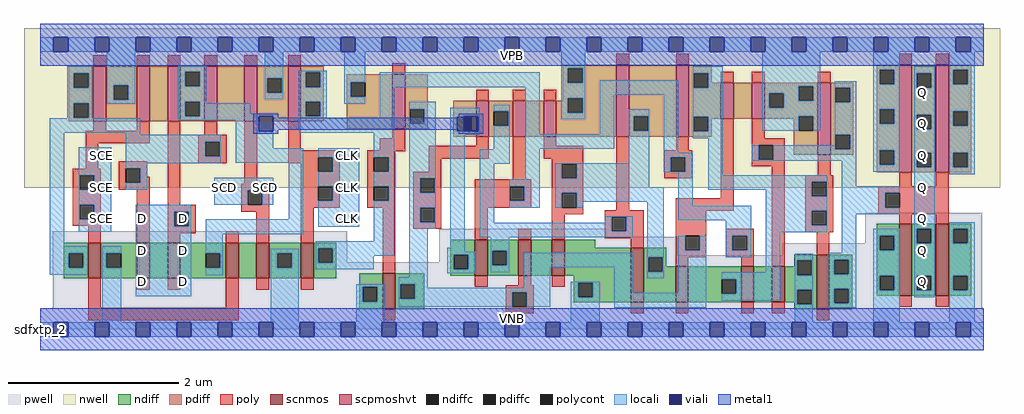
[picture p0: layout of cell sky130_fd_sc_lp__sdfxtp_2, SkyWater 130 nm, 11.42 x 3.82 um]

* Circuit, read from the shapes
.subckt sky130_fd_sc_lp__sdfxtp_2 CLK D SCD SCE VGND VNB VPB VPWR Q
XM1 VGND SCE n1 VNB sky130_fd_pr__nfet_01v8 w=0.42 l=0.15
XM2 n2 n1 VGND VNB sky130_fd_pr__nfet_01v8 w=0.42 l=0.15
XM3 n3 D n2 VNB sky130_fd_pr__nfet_01v8 w=0.42 l=0.15
XM4 n4 SCE n3 VNB sky130_fd_pr__nfet_01v8 w=0.42 l=0.15
XM5 VGND SCD n4 VNB sky130_fd_pr__nfet_01v8 w=0.42 l=0.15
XM6 n5 CLK VGND VNB sky130_fd_pr__nfet_01v8 w=0.42 l=0.15
XM7 n6 n5 VGND VNB sky130_fd_pr__nfet_01v8 w=0.42 l=0.15
XM8 n7 n5 n3 VNB sky130_fd_pr__nfet_01v8 w=0.42 l=0.15
XM9 n8 n6 n7 VNB sky130_fd_pr__nfet_01v8 w=0.42 l=0.15
XM10 VGND n9 n8 VNB sky130_fd_pr__nfet_01v8 w=0.42 l=0.15
XM11 n9 n7 VGND VNB sky130_fd_pr__nfet_01v8 w=0.64 l=0.15
XM12 n10 n6 n9 VNB sky130_fd_pr__nfet_01v8 w=0.42 l=0.15
XM13 n11 n5 n10 VNB sky130_fd_pr__nfet_01v8 w=0.42 l=0.15
XM14 VGND n12 n11 VNB sky130_fd_pr__nfet_01v8 w=0.42 l=0.15
XM15 n12 n10 VGND VNB sky130_fd_pr__nfet_01v8 w=0.64 l=0.15
XM16 Q n12 VGND VNB sky130_fd_pr__nfet_01v8 w=0.84 l=0.15 m=2
XM17 VPWR SCE n1 VPB sky130_fd_pr__pfet_01v8_hvt w=0.64 l=0.15
XM18 n13 SCE VPWR VPB sky130_fd_pr__pfet_01v8_hvt w=0.64 l=0.15
XM19 n3 D n13 VPB sky130_fd_pr__pfet_01v8_hvt w=0.64 l=0.15
XM20 n14 n1 n3 VPB sky130_fd_pr__pfet_01v8_hvt w=0.64 l=0.15
XM21 VPWR SCD n14 VPB sky130_fd_pr__pfet_01v8_hvt w=0.64 l=0.15
XM22 n5 CLK VPWR VPB sky130_fd_pr__pfet_01v8_hvt w=0.64 l=0.15
XM23 n6 n5 VPWR VPB sky130_fd_pr__pfet_01v8_hvt w=0.64 l=0.15
XM24 n7 n6 n3 VPB sky130_fd_pr__pfet_01v8_hvt w=0.42 l=0.15
XM25 n15 n5 n7 VPB sky130_fd_pr__pfet_01v8_hvt w=0.42 l=0.15
XM26 VPWR n9 n15 VPB sky130_fd_pr__pfet_01v8_hvt w=0.42 l=0.15
XM27 n9 n7 VPWR VPB sky130_fd_pr__pfet_01v8_hvt w=0.84 l=0.15
XM28 n10 n5 n9 VPB sky130_fd_pr__pfet_01v8_hvt w=0.84 l=0.15
XM29 n16 n6 n10 VPB sky130_fd_pr__pfet_01v8_hvt w=0.42 l=0.15
XM30 VPWR n12 n16 VPB sky130_fd_pr__pfet_01v8_hvt w=0.42 l=0.15
XM31 n12 n10 VPWR VPB sky130_fd_pr__pfet_01v8_hvt w=0.84 l=0.15
XM32 Q n12 VPWR VPB sky130_fd_pr__pfet_01v8_hvt w=1.26 l=0.15 m=2
.ends

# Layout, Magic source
magic
tech sky130A
magscale 1 2
<< nwell >>
rect -38 331 2246 704
<< pwell >>
rect 29 157 719 229
rect 934 217 1325 235
rect 934 173 1491 217
rect 1931 201 2205 273
rect 1738 173 2205 201
rect 934 157 2205 173
rect 29 49 2205 157
rect 0 0 2208 49
<< scnmos >>
rect 112 119 142 203
rect 226 119 256 203
rect 298 119 328 203
rect 434 119 464 203
rect 506 119 536 203
rect 610 119 640 203
rect 801 47 831 131
rect 1017 125 1047 209
rect 1119 125 1149 209
rect 1197 125 1227 209
rect 1382 63 1412 191
rect 1487 63 1517 147
rect 1640 63 1670 147
rect 1712 63 1742 147
rect 1817 47 1847 175
rect 2010 79 2040 247
rect 2096 79 2126 247
<< scpmoshvt >>
rect 124 487 154 615
rect 226 487 256 615
rect 298 487 328 615
rect 384 487 414 615
rect 478 487 508 615
rect 580 487 610 615
rect 824 469 854 597
rect 1020 451 1050 535
rect 1106 451 1136 535
rect 1178 451 1208 535
rect 1348 451 1378 619
rect 1488 451 1518 619
rect 1593 493 1623 577
rect 1665 493 1695 577
rect 1820 409 1850 577
rect 2010 367 2040 619
rect 2096 367 2126 619
<< ndiff >>
rect 55 178 112 203
rect 55 144 67 178
rect 101 144 112 178
rect 55 119 112 144
rect 142 178 226 203
rect 142 144 155 178
rect 189 144 226 178
rect 142 119 226 144
rect 256 119 298 203
rect 328 178 434 203
rect 328 144 387 178
rect 421 144 434 178
rect 328 119 434 144
rect 464 119 506 203
rect 536 178 610 203
rect 536 144 555 178
rect 589 144 610 178
rect 536 119 610 144
rect 640 190 693 203
rect 640 156 651 190
rect 685 156 693 190
rect 640 119 693 156
rect 960 175 1017 209
rect 960 141 968 175
rect 1002 141 1017 175
rect 747 99 801 131
rect 747 65 755 99
rect 789 65 801 99
rect 747 47 801 65
rect 831 106 899 131
rect 960 125 1017 141
rect 1047 184 1119 209
rect 1047 150 1058 184
rect 1092 150 1119 184
rect 1047 125 1119 150
rect 1149 125 1197 209
rect 1227 191 1299 209
rect 1227 125 1382 191
rect 831 72 842 106
rect 876 72 899 106
rect 831 47 899 72
rect 1249 109 1382 125
rect 1249 75 1259 109
rect 1293 75 1382 109
rect 1249 63 1382 75
rect 1412 169 1465 191
rect 1412 135 1423 169
rect 1457 147 1465 169
rect 1957 219 2010 247
rect 1957 185 1965 219
rect 1999 185 2010 219
rect 1764 161 1817 175
rect 1764 147 1772 161
rect 1457 135 1487 147
rect 1412 63 1487 135
rect 1517 117 1640 147
rect 1517 83 1595 117
rect 1629 83 1640 117
rect 1517 63 1640 83
rect 1670 63 1712 147
rect 1742 127 1772 147
rect 1806 127 1817 161
rect 1742 93 1817 127
rect 1742 63 1772 93
rect 1764 59 1772 63
rect 1806 59 1817 93
rect 1764 47 1817 59
rect 1847 163 1900 175
rect 1847 129 1858 163
rect 1892 129 1900 163
rect 1847 95 1900 129
rect 1847 61 1858 95
rect 1892 61 1900 95
rect 1957 125 2010 185
rect 1957 91 1965 125
rect 1999 91 2010 125
rect 1957 79 2010 91
rect 2040 235 2096 247
rect 2040 201 2051 235
rect 2085 201 2096 235
rect 2040 125 2096 201
rect 2040 91 2051 125
rect 2085 91 2096 125
rect 2040 79 2096 91
rect 2126 235 2179 247
rect 2126 201 2137 235
rect 2171 201 2179 235
rect 2126 125 2179 201
rect 2126 91 2137 125
rect 2171 91 2179 125
rect 2126 79 2179 91
rect 1847 47 1900 61
<< pdiff >>
rect 67 599 124 615
rect 67 565 79 599
rect 113 565 124 599
rect 67 529 124 565
rect 67 495 79 529
rect 113 495 124 529
rect 67 487 124 495
rect 154 571 226 615
rect 154 537 172 571
rect 206 537 226 571
rect 154 487 226 537
rect 256 487 298 615
rect 328 603 384 615
rect 328 569 339 603
rect 373 569 384 603
rect 328 533 384 569
rect 328 499 339 533
rect 373 499 384 533
rect 328 487 384 499
rect 414 487 478 615
rect 508 588 580 615
rect 508 554 531 588
rect 565 554 580 588
rect 508 487 580 554
rect 610 601 663 615
rect 610 567 621 601
rect 655 567 663 601
rect 1223 611 1348 619
rect 610 533 663 567
rect 610 499 621 533
rect 655 499 663 533
rect 610 487 663 499
rect 717 578 824 597
rect 717 544 727 578
rect 761 544 824 578
rect 717 469 824 544
rect 854 515 907 597
rect 1223 577 1235 611
rect 1269 577 1348 611
rect 1223 541 1348 577
rect 1223 535 1235 541
rect 854 481 865 515
rect 899 481 907 515
rect 854 469 907 481
rect 967 497 1020 535
rect 967 463 975 497
rect 1009 463 1020 497
rect 967 451 1020 463
rect 1050 510 1106 535
rect 1050 476 1061 510
rect 1095 476 1106 510
rect 1050 451 1106 476
rect 1136 451 1178 535
rect 1208 507 1235 535
rect 1269 507 1348 541
rect 1208 451 1348 507
rect 1378 499 1488 619
rect 1378 465 1389 499
rect 1423 465 1488 499
rect 1378 451 1488 465
rect 1518 599 1571 619
rect 1957 607 2010 619
rect 1518 565 1529 599
rect 1563 577 1571 599
rect 1563 565 1593 577
rect 1518 497 1593 565
rect 1518 463 1529 497
rect 1563 493 1593 497
rect 1623 493 1665 577
rect 1695 569 1820 577
rect 1695 552 1775 569
rect 1695 518 1706 552
rect 1740 535 1775 552
rect 1809 535 1820 569
rect 1740 518 1820 535
rect 1695 499 1820 518
rect 1695 493 1775 499
rect 1563 463 1571 493
rect 1518 451 1571 463
rect 1763 465 1775 493
rect 1809 465 1820 499
rect 1763 409 1820 465
rect 1850 565 1903 577
rect 1850 531 1861 565
rect 1895 531 1903 565
rect 1850 455 1903 531
rect 1850 421 1861 455
rect 1895 421 1903 455
rect 1850 409 1903 421
rect 1957 573 1965 607
rect 1999 573 2010 607
rect 1957 515 2010 573
rect 1957 481 1965 515
rect 1999 481 2010 515
rect 1957 419 2010 481
rect 1957 385 1965 419
rect 1999 385 2010 419
rect 1957 367 2010 385
rect 2040 599 2096 619
rect 2040 565 2051 599
rect 2085 565 2096 599
rect 2040 502 2096 565
rect 2040 468 2051 502
rect 2085 468 2096 502
rect 2040 413 2096 468
rect 2040 379 2051 413
rect 2085 379 2096 413
rect 2040 367 2096 379
rect 2126 607 2179 619
rect 2126 573 2137 607
rect 2171 573 2179 607
rect 2126 510 2179 573
rect 2126 476 2137 510
rect 2171 476 2179 510
rect 2126 413 2179 476
rect 2126 379 2137 413
rect 2171 379 2179 413
rect 2126 367 2179 379
<< ndiffc >>
rect 67 144 101 178
rect 155 144 189 178
rect 387 144 421 178
rect 555 144 589 178
rect 651 156 685 190
rect 968 141 1002 175
rect 755 65 789 99
rect 1058 150 1092 184
rect 842 72 876 106
rect 1259 75 1293 109
rect 1423 135 1457 169
rect 1965 185 1999 219
rect 1595 83 1629 117
rect 1772 127 1806 161
rect 1772 59 1806 93
rect 1858 129 1892 163
rect 1858 61 1892 95
rect 1965 91 1999 125
rect 2051 201 2085 235
rect 2051 91 2085 125
rect 2137 201 2171 235
rect 2137 91 2171 125
<< pdiffc >>
rect 79 565 113 599
rect 79 495 113 529
rect 172 537 206 571
rect 339 569 373 603
rect 339 499 373 533
rect 531 554 565 588
rect 621 567 655 601
rect 621 499 655 533
rect 727 544 761 578
rect 1235 577 1269 611
rect 865 481 899 515
rect 975 463 1009 497
rect 1061 476 1095 510
rect 1235 507 1269 541
rect 1389 465 1423 499
rect 1529 565 1563 599
rect 1529 463 1563 497
rect 1706 518 1740 552
rect 1775 535 1809 569
rect 1775 465 1809 499
rect 1861 531 1895 565
rect 1861 421 1895 455
rect 1965 573 1999 607
rect 1965 481 1999 515
rect 1965 385 1999 419
rect 2051 565 2085 599
rect 2051 468 2085 502
rect 2051 379 2085 413
rect 2137 573 2171 607
rect 2137 476 2171 510
rect 2137 379 2171 413
<< poly >>
rect 124 615 154 641
rect 226 615 256 641
rect 298 615 328 641
rect 384 615 414 641
rect 478 615 508 641
rect 580 615 610 641
rect 824 597 854 623
rect 1348 619 1378 645
rect 1488 619 1518 645
rect 2010 619 2040 645
rect 2096 619 2126 645
rect 124 465 154 487
rect 226 465 256 487
rect 106 435 256 465
rect 106 376 136 435
rect 184 377 250 393
rect 76 360 142 376
rect 76 326 92 360
rect 126 326 142 360
rect 184 343 200 377
rect 234 357 250 377
rect 234 343 256 357
rect 184 327 256 343
rect 76 292 142 326
rect 76 258 92 292
rect 126 258 142 292
rect 76 242 142 258
rect 112 203 142 242
rect 226 203 256 327
rect 298 291 328 487
rect 384 455 414 487
rect 370 439 436 455
rect 370 405 386 439
rect 420 405 436 439
rect 370 389 436 405
rect 478 341 508 487
rect 580 419 610 487
rect 1020 535 1050 561
rect 1106 535 1136 561
rect 1178 535 1208 561
rect 824 447 854 469
rect 1593 577 1623 603
rect 1665 577 1695 603
rect 1820 577 1850 603
rect 795 419 854 447
rect 1020 429 1050 451
rect 580 403 701 419
rect 580 389 651 403
rect 610 369 651 389
rect 685 369 701 403
rect 470 325 536 341
rect 470 291 486 325
rect 520 291 536 325
rect 298 275 364 291
rect 470 275 536 291
rect 298 241 314 275
rect 348 241 364 275
rect 298 225 364 241
rect 298 203 328 225
rect 434 203 464 229
rect 506 203 536 275
rect 610 335 701 369
rect 610 301 651 335
rect 685 301 701 335
rect 610 285 701 301
rect 765 417 854 419
rect 765 403 831 417
rect 765 369 781 403
rect 815 369 831 403
rect 909 399 1050 429
rect 909 369 939 399
rect 765 335 831 369
rect 765 301 781 335
rect 815 301 831 335
rect 765 285 831 301
rect 610 203 640 285
rect 801 131 831 285
rect 873 353 939 369
rect 873 319 889 353
rect 923 319 939 353
rect 1106 351 1136 451
rect 1178 429 1208 451
rect 1178 399 1271 429
rect 1197 387 1271 399
rect 1197 353 1221 387
rect 1255 353 1271 387
rect 873 285 939 319
rect 873 251 889 285
rect 923 251 939 285
rect 873 235 939 251
rect 1017 335 1149 351
rect 1017 301 1099 335
rect 1133 301 1149 335
rect 1017 285 1149 301
rect 1197 319 1271 353
rect 1197 285 1221 319
rect 1255 285 1271 319
rect 1017 209 1047 285
rect 1197 269 1271 285
rect 1348 279 1378 451
rect 1488 419 1518 451
rect 1460 403 1526 419
rect 1460 369 1476 403
rect 1510 369 1526 403
rect 1460 353 1526 369
rect 1593 307 1623 493
rect 1665 447 1695 493
rect 1665 431 1742 447
rect 1665 397 1681 431
rect 1715 397 1742 431
rect 1665 381 1742 397
rect 1119 209 1149 235
rect 1197 209 1227 269
rect 1321 263 1412 279
rect 1321 229 1337 263
rect 1371 229 1412 263
rect 1321 213 1412 229
rect 112 51 142 119
rect 226 93 256 119
rect 298 93 328 119
rect 434 51 464 119
rect 506 93 536 119
rect 610 93 640 119
rect 112 21 464 51
rect 1382 191 1412 213
rect 1487 277 1623 307
rect 1487 219 1559 277
rect 1017 99 1047 125
rect 1119 103 1149 125
rect 1089 87 1155 103
rect 1197 99 1227 125
rect 1089 53 1105 87
rect 1139 53 1155 87
rect 1487 185 1509 219
rect 1543 185 1559 219
rect 1487 169 1559 185
rect 1604 219 1670 235
rect 1604 185 1620 219
rect 1654 185 1670 219
rect 1604 169 1670 185
rect 1487 147 1517 169
rect 1640 147 1670 169
rect 1712 147 1742 381
rect 1820 361 1850 409
rect 1790 345 1856 361
rect 1790 311 1806 345
rect 1840 311 1856 345
rect 2010 335 2040 367
rect 2096 335 2126 367
rect 1790 277 1856 311
rect 1790 243 1806 277
rect 1840 243 1856 277
rect 1961 319 2126 335
rect 1961 285 1977 319
rect 2011 285 2126 319
rect 1961 269 2126 285
rect 2010 247 2040 269
rect 2096 247 2126 269
rect 1790 227 1856 243
rect 1817 175 1847 227
rect 801 21 831 47
rect 1089 37 1155 53
rect 1382 37 1412 63
rect 1487 37 1517 63
rect 1640 37 1670 63
rect 1712 37 1742 63
rect 2010 53 2040 79
rect 2096 53 2126 79
rect 1817 21 1847 47
<< polycont >>
rect 92 326 126 360
rect 200 343 234 377
rect 92 258 126 292
rect 386 405 420 439
rect 651 369 685 403
rect 486 291 520 325
rect 314 241 348 275
rect 651 301 685 335
rect 781 369 815 403
rect 781 301 815 335
rect 889 319 923 353
rect 1221 353 1255 387
rect 889 251 923 285
rect 1099 301 1133 335
rect 1221 285 1255 319
rect 1476 369 1510 403
rect 1681 397 1715 431
rect 1337 229 1371 263
rect 1105 53 1139 87
rect 1509 185 1543 219
rect 1620 185 1654 219
rect 1806 311 1840 345
rect 1806 243 1840 277
rect 1977 285 2011 319
<< locali >>
rect 0 649 31 683
rect 65 649 127 683
rect 161 649 223 683
rect 257 649 319 683
rect 353 649 415 683
rect 449 649 511 683
rect 545 649 607 683
rect 641 649 703 683
rect 737 649 799 683
rect 833 649 895 683
rect 929 649 991 683
rect 1025 649 1087 683
rect 1121 649 1183 683
rect 1217 649 1279 683
rect 1313 649 1375 683
rect 1409 649 1471 683
rect 1505 649 1567 683
rect 1601 649 1663 683
rect 1697 649 1759 683
rect 1793 649 1855 683
rect 1889 649 1951 683
rect 1985 649 2047 683
rect 2081 649 2143 683
rect 2177 649 2208 683
rect 63 599 122 615
rect 63 565 79 599
rect 113 565 122 599
rect 63 529 122 565
rect 63 495 79 529
rect 113 495 122 529
rect 156 571 222 649
rect 156 537 172 571
rect 206 537 222 571
rect 156 528 222 537
rect 323 603 389 615
rect 323 569 339 603
rect 373 569 389 603
rect 323 533 389 569
rect 525 588 569 649
rect 525 554 531 588
rect 565 554 569 588
rect 525 538 569 554
rect 605 601 671 605
rect 605 567 621 601
rect 655 567 671 601
rect 63 494 122 495
rect 323 499 339 533
rect 373 529 389 533
rect 605 533 671 567
rect 373 504 491 529
rect 373 499 545 504
rect 323 498 545 499
rect 22 460 234 494
rect 323 489 511 498
rect 22 194 56 460
rect 200 455 234 460
rect 457 464 511 489
rect 200 439 423 455
rect 90 360 166 426
rect 90 326 92 360
rect 126 326 166 360
rect 200 405 386 439
rect 420 405 423 439
rect 200 389 423 405
rect 457 424 545 464
rect 605 499 621 533
rect 655 499 671 533
rect 711 578 761 649
rect 1219 611 1275 649
rect 711 544 727 578
rect 711 528 761 544
rect 795 567 1169 601
rect 605 494 671 499
rect 795 494 829 567
rect 605 460 829 494
rect 457 390 615 424
rect 200 377 250 389
rect 234 343 250 377
rect 200 327 250 343
rect 90 292 166 326
rect 90 258 92 292
rect 126 258 166 292
rect 407 325 545 355
rect 407 291 486 325
rect 520 291 545 325
rect 90 228 166 258
rect 223 275 353 291
rect 223 241 314 275
rect 348 241 353 275
rect 581 257 615 390
rect 22 178 111 194
rect 22 144 67 178
rect 101 144 111 178
rect 22 128 111 144
rect 145 178 189 194
rect 145 144 155 178
rect 145 17 189 144
rect 223 77 353 241
rect 387 223 615 257
rect 651 403 747 424
rect 685 369 747 403
rect 651 335 747 369
rect 685 301 747 335
rect 651 240 747 301
rect 781 403 829 460
rect 815 369 829 403
rect 781 335 829 369
rect 815 301 829 335
rect 387 178 427 223
rect 781 206 829 301
rect 645 190 829 206
rect 421 144 427 178
rect 387 127 427 144
rect 539 178 605 189
rect 539 144 555 178
rect 589 144 605 178
rect 539 17 605 144
rect 645 156 651 190
rect 685 172 829 190
rect 863 515 925 533
rect 863 481 865 515
rect 899 481 925 515
rect 863 353 925 481
rect 863 319 889 353
rect 923 319 925 353
rect 863 285 925 319
rect 863 251 889 285
rect 923 251 925 285
rect 863 235 925 251
rect 959 498 1027 518
rect 959 497 991 498
rect 959 463 975 497
rect 1025 464 1027 498
rect 1009 463 1027 464
rect 959 455 1027 463
rect 1061 510 1099 526
rect 1095 476 1099 510
rect 685 156 781 172
rect 645 140 781 156
rect 863 122 907 235
rect 959 191 993 455
rect 1061 421 1099 476
rect 1029 387 1099 421
rect 1135 457 1169 567
rect 1219 577 1235 611
rect 1269 577 1275 611
rect 1527 599 1597 615
rect 1219 541 1275 577
rect 1219 507 1235 541
rect 1269 507 1275 541
rect 1219 491 1275 507
rect 1309 549 1493 583
rect 1309 457 1343 549
rect 1135 423 1343 457
rect 1377 499 1425 515
rect 1377 465 1389 499
rect 1423 465 1425 499
rect 1029 249 1063 387
rect 1135 351 1169 423
rect 1377 389 1425 465
rect 1097 335 1169 351
rect 1097 301 1099 335
rect 1133 301 1169 335
rect 1097 285 1169 301
rect 1205 387 1425 389
rect 1205 353 1221 387
rect 1255 353 1425 387
rect 1459 413 1493 549
rect 1527 565 1529 599
rect 1563 565 1597 599
rect 1527 497 1597 565
rect 1527 463 1529 497
rect 1563 463 1597 497
rect 1690 569 1825 649
rect 1949 607 2011 649
rect 1690 552 1775 569
rect 1690 518 1706 552
rect 1740 535 1775 552
rect 1809 535 1825 569
rect 1740 518 1825 535
rect 1690 499 1825 518
rect 1690 465 1775 499
rect 1809 465 1825 499
rect 1859 565 1910 581
rect 1859 531 1861 565
rect 1895 531 1910 565
rect 1527 447 1597 463
rect 1459 403 1527 413
rect 1459 369 1476 403
rect 1510 369 1527 403
rect 1459 367 1527 369
rect 1205 333 1425 353
rect 1205 319 1459 333
rect 1205 285 1221 319
rect 1255 299 1459 319
rect 1255 285 1271 299
rect 1321 263 1387 265
rect 1321 249 1337 263
rect 1029 229 1337 249
rect 1371 229 1387 263
rect 1029 215 1387 229
rect 952 181 993 191
rect 1054 184 1098 215
rect 952 175 1018 181
rect 952 141 968 175
rect 1002 141 1018 175
rect 952 131 1018 141
rect 1054 150 1058 184
rect 1092 150 1098 184
rect 1054 134 1098 150
rect 1132 145 1387 179
rect 839 106 907 122
rect 739 99 805 106
rect 739 65 755 99
rect 789 65 805 99
rect 739 17 805 65
rect 839 72 842 106
rect 876 97 907 106
rect 1132 97 1193 145
rect 876 87 1193 97
rect 876 72 1105 87
rect 839 53 1105 72
rect 1139 53 1193 87
rect 1241 109 1309 111
rect 1241 75 1259 109
rect 1293 75 1309 109
rect 1241 17 1309 75
rect 1343 85 1387 145
rect 1421 169 1459 299
rect 1493 289 1527 367
rect 1563 361 1597 447
rect 1859 455 1910 531
rect 1859 431 1861 455
rect 1665 397 1681 431
rect 1715 421 1861 431
rect 1895 421 1910 455
rect 1715 397 1910 421
rect 1665 395 1910 397
rect 1563 345 1842 361
rect 1563 327 1806 345
rect 1698 311 1806 327
rect 1840 311 1842 345
rect 1493 255 1664 289
rect 1604 219 1664 255
rect 1421 135 1423 169
rect 1457 135 1459 169
rect 1421 119 1459 135
rect 1493 185 1509 219
rect 1543 185 1559 219
rect 1493 85 1559 185
rect 1604 185 1620 219
rect 1654 185 1664 219
rect 1604 169 1664 185
rect 1698 277 1842 311
rect 1698 243 1806 277
rect 1840 243 1842 277
rect 1698 227 1842 243
rect 1876 335 1910 395
rect 1949 573 1965 607
rect 1999 573 2011 607
rect 1949 515 2011 573
rect 1949 481 1965 515
rect 1999 481 2011 515
rect 1949 419 2011 481
rect 1949 385 1965 419
rect 1999 385 2011 419
rect 1949 369 2011 385
rect 2045 599 2093 615
rect 2045 565 2051 599
rect 2085 565 2093 599
rect 2045 502 2093 565
rect 2045 468 2051 502
rect 2085 468 2093 502
rect 2045 413 2093 468
rect 2045 379 2051 413
rect 2085 379 2093 413
rect 1876 319 2011 335
rect 1876 285 1977 319
rect 1876 269 2011 285
rect 1698 133 1732 227
rect 1876 179 1910 269
rect 2045 235 2093 379
rect 2127 607 2187 649
rect 2127 573 2137 607
rect 2171 573 2187 607
rect 2127 510 2187 573
rect 2127 476 2137 510
rect 2171 476 2187 510
rect 2127 413 2187 476
rect 2127 379 2137 413
rect 2171 379 2187 413
rect 2127 363 2187 379
rect 1343 51 1559 85
rect 1595 117 1732 133
rect 1629 83 1732 117
rect 1595 67 1732 83
rect 1766 161 1808 177
rect 1766 127 1772 161
rect 1806 127 1808 161
rect 1766 93 1808 127
rect 1766 59 1772 93
rect 1806 59 1808 93
rect 1766 17 1808 59
rect 1842 163 1910 179
rect 1842 129 1858 163
rect 1892 129 1910 163
rect 1842 95 1910 129
rect 1842 61 1858 95
rect 1892 61 1910 95
rect 1842 51 1910 61
rect 1949 219 2011 235
rect 1949 185 1965 219
rect 1999 185 2011 219
rect 1949 125 2011 185
rect 1949 91 1965 125
rect 1999 91 2011 125
rect 1949 17 2011 91
rect 2045 201 2051 235
rect 2085 201 2093 235
rect 2045 125 2093 201
rect 2045 91 2051 125
rect 2085 91 2093 125
rect 2045 75 2093 91
rect 2127 235 2187 251
rect 2127 201 2137 235
rect 2171 201 2187 235
rect 2127 125 2187 201
rect 2127 91 2137 125
rect 2171 91 2187 125
rect 2127 17 2187 91
rect 0 -17 31 17
rect 65 -17 127 17
rect 161 -17 223 17
rect 257 -17 319 17
rect 353 -17 415 17
rect 449 -17 511 17
rect 545 -17 607 17
rect 641 -17 703 17
rect 737 -17 799 17
rect 833 -17 895 17
rect 929 -17 991 17
rect 1025 -17 1087 17
rect 1121 -17 1183 17
rect 1217 -17 1279 17
rect 1313 -17 1375 17
rect 1409 -17 1471 17
rect 1505 -17 1567 17
rect 1601 -17 1663 17
rect 1697 -17 1759 17
rect 1793 -17 1855 17
rect 1889 -17 1951 17
rect 1985 -17 2047 17
rect 2081 -17 2143 17
rect 2177 -17 2208 17
<< viali >>
rect 31 649 65 683
rect 127 649 161 683
rect 223 649 257 683
rect 319 649 353 683
rect 415 649 449 683
rect 511 649 545 683
rect 607 649 641 683
rect 703 649 737 683
rect 799 649 833 683
rect 895 649 929 683
rect 991 649 1025 683
rect 1087 649 1121 683
rect 1183 649 1217 683
rect 1279 649 1313 683
rect 1375 649 1409 683
rect 1471 649 1505 683
rect 1567 649 1601 683
rect 1663 649 1697 683
rect 1759 649 1793 683
rect 1855 649 1889 683
rect 1951 649 1985 683
rect 2047 649 2081 683
rect 2143 649 2177 683
rect 511 464 545 498
rect 991 497 1025 498
rect 991 464 1009 497
rect 1009 464 1025 497
rect 31 -17 65 17
rect 127 -17 161 17
rect 223 -17 257 17
rect 319 -17 353 17
rect 415 -17 449 17
rect 511 -17 545 17
rect 607 -17 641 17
rect 703 -17 737 17
rect 799 -17 833 17
rect 895 -17 929 17
rect 991 -17 1025 17
rect 1087 -17 1121 17
rect 1183 -17 1217 17
rect 1279 -17 1313 17
rect 1375 -17 1409 17
rect 1471 -17 1505 17
rect 1567 -17 1601 17
rect 1663 -17 1697 17
rect 1759 -17 1793 17
rect 1855 -17 1889 17
rect 1951 -17 1985 17
rect 2047 -17 2081 17
rect 2143 -17 2177 17
<< metal1 >>
rect 0 683 2208 715
rect 0 649 31 683
rect 65 649 127 683
rect 161 649 223 683
rect 257 649 319 683
rect 353 649 415 683
rect 449 649 511 683
rect 545 649 607 683
rect 641 649 703 683
rect 737 649 799 683
rect 833 649 895 683
rect 929 649 991 683
rect 1025 649 1087 683
rect 1121 649 1183 683
rect 1217 649 1279 683
rect 1313 649 1375 683
rect 1409 649 1471 683
rect 1505 649 1567 683
rect 1601 649 1663 683
rect 1697 649 1759 683
rect 1793 649 1855 683
rect 1889 649 1951 683
rect 1985 649 2047 683
rect 2081 649 2143 683
rect 2177 649 2208 683
rect 0 617 2208 649
rect 499 498 557 504
rect 499 464 511 498
rect 545 495 557 498
rect 979 498 1037 504
rect 979 495 991 498
rect 545 467 991 495
rect 545 464 557 467
rect 499 458 557 464
rect 979 464 991 467
rect 1025 464 1037 498
rect 979 458 1037 464
rect 0 17 2208 49
rect 0 -17 31 17
rect 65 -17 127 17
rect 161 -17 223 17
rect 257 -17 319 17
rect 353 -17 415 17
rect 449 -17 511 17
rect 545 -17 607 17
rect 641 -17 703 17
rect 737 -17 799 17
rect 833 -17 895 17
rect 929 -17 991 17
rect 1025 -17 1087 17
rect 1121 -17 1183 17
rect 1217 -17 1279 17
rect 1313 -17 1375 17
rect 1409 -17 1471 17
rect 1505 -17 1567 17
rect 1601 -17 1663 17
rect 1697 -17 1759 17
rect 1793 -17 1855 17
rect 1889 -17 1951 17
rect 1985 -17 2047 17
rect 2081 -17 2143 17
rect 2177 -17 2208 17
rect 0 -49 2208 -17
<< labels >>
flabel pwell s 0 0 2208 49 0 FreeSans 200 0 0 0 VNB
port 6 nsew ground bidirectional
flabel nwell s 0 617 2208 666 0 FreeSans 200 0 0 0 VPB
port 7 nsew power bidirectional
rlabel comment s 0 0 0 0 4 sdfxtp_2
flabel metal1 s 0 617 2208 666 0 FreeSans 340 0 0 0 VPWR
port 8 nsew power bidirectional
flabel metal1 s 0 0 2208 49 0 FreeSans 340 0 0 0 VGND
port 5 nsew ground bidirectional
flabel locali s 703 242 737 276 0 FreeSans 340 0 0 0 CLK
port 1 nsew clock input
flabel locali s 703 316 737 350 0 FreeSans 340 0 0 0 CLK
port 1 nsew clock input
flabel locali s 703 390 737 424 0 FreeSans 340 0 0 0 CLK
port 1 nsew clock input
flabel locali s 127 242 161 276 0 FreeSans 340 0 0 0 SCE
port 4 nsew signal input
flabel locali s 127 316 161 350 0 FreeSans 340 0 0 0 SCE
port 4 nsew signal input
flabel locali s 127 390 161 424 0 FreeSans 340 0 0 0 SCE
port 4 nsew signal input
flabel locali s 415 316 449 350 0 FreeSans 340 0 0 0 SCD
port 3 nsew signal input
flabel locali s 511 316 545 350 0 FreeSans 340 0 0 0 SCD
port 3 nsew signal input
flabel locali s 223 94 257 128 0 FreeSans 340 0 0 0 D
port 2 nsew signal input
flabel locali s 223 168 257 202 0 FreeSans 340 0 0 0 D
port 2 nsew signal input
flabel locali s 223 242 257 276 0 FreeSans 340 0 0 0 D
port 2 nsew signal input
flabel locali s 319 94 353 128 0 FreeSans 340 0 0 0 D
port 2 nsew signal input
flabel locali s 319 168 353 202 0 FreeSans 340 0 0 0 D
port 2 nsew signal input
flabel locali s 319 242 353 276 0 FreeSans 340 0 0 0 D
port 2 nsew signal input
flabel locali s 2047 94 2081 128 0 FreeSans 340 0 0 0 Q
port 9 nsew signal output
flabel locali s 2047 168 2081 202 0 FreeSans 340 0 0 0 Q
port 9 nsew signal output
flabel locali s 2047 242 2081 276 0 FreeSans 340 0 0 0 Q
port 9 nsew signal output
flabel locali s 2047 316 2081 350 0 FreeSans 340 0 0 0 Q
port 9 nsew signal output
flabel locali s 2047 390 2081 424 0 FreeSans 340 0 0 0 Q
port 9 nsew signal output
flabel locali s 2047 464 2081 498 0 FreeSans 340 0 0 0 Q
port 9 nsew signal output
flabel locali s 2047 538 2081 572 0 FreeSans 340 0 0 0 Q
port 9 nsew signal output
<< properties >>
string LEFsite unit
string LEFclass CORE
string FIXED_BBOX 0 0 2208 666
string GDS_FILE $PDKPATH/libs.ref/sky130_fd_sc_lp/gds/sky130_fd_sc_lp.gds
string LEFsymmetry X Y R90
string GDS_END 4073122
string GDS_START 4054910
<< end >>
